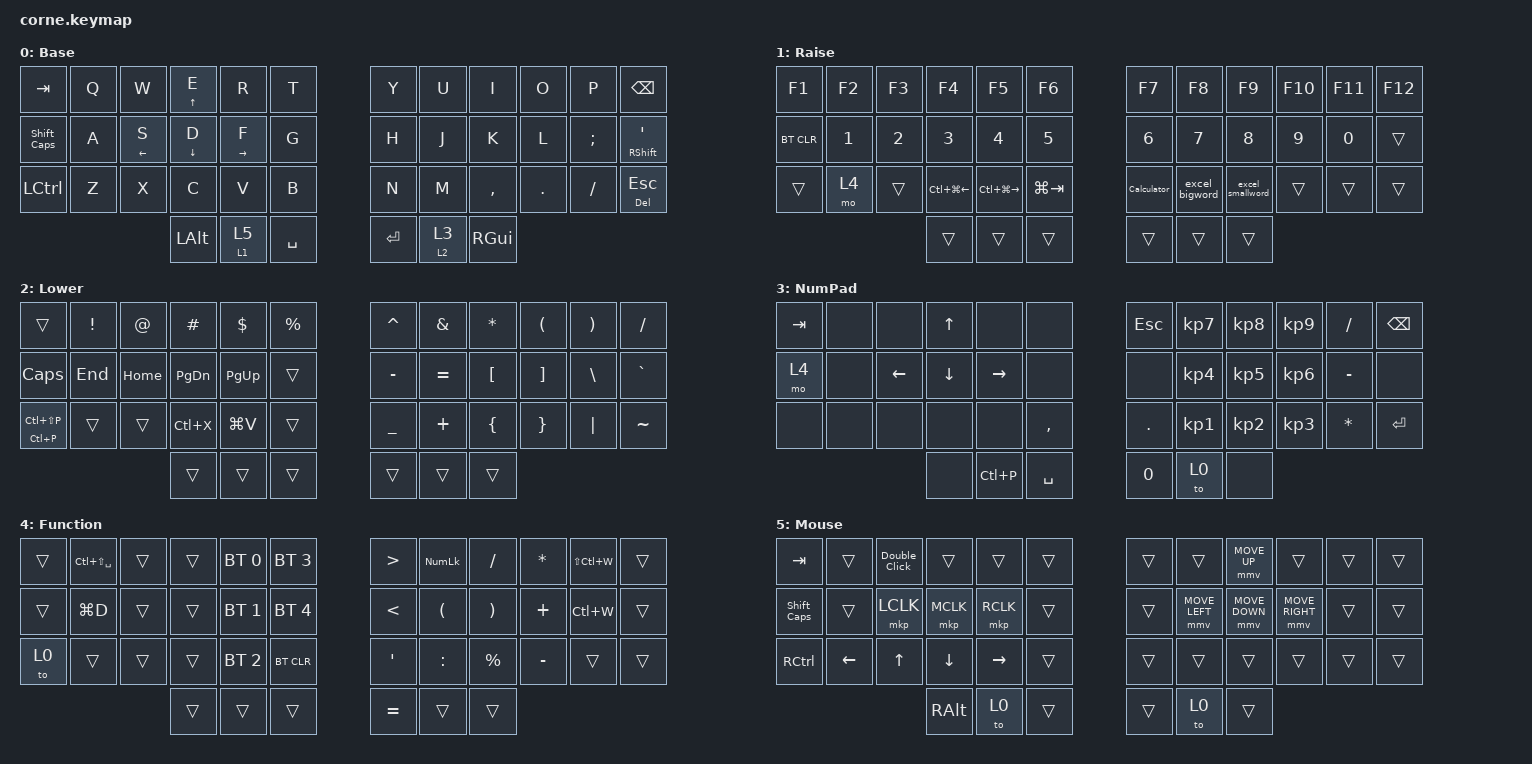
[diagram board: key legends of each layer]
/*
 * Copyright (c) 2020 The ZMK Contributors
 *
 * SPDX-License-Identifier: MIT
 */

#define ZMK_POINTING_DEFAULT_MOVE_VAL 1200  // 600
#define ZMK_POINTING_DEFAULT_SCRL_VAL 25   // 10

#include <input/processors.dtsi>
#include <zephyr/dt-bindings/input/input-event-codes.h>
#include <behaviors.dtsi>
#include <dt-bindings/zmk/bt.h>
#include <dt-bindings/zmk/keys.h>
#include <dt-bindings/zmk/pointing.h>

&mmv_input_listener { input-processors = <&zip_xy_scaler 2 1>; };

&msc_input_listener { input-processors = <&zip_scroll_scaler 2 1>; };

&msc {
  acceleration-exponent = <1>;      // 0
  time-to-max-speed-ms = <100>;       // 300
  delay-ms = <0>;                   // 0
};

&mmv {
  time-to-max-speed-ms = <500>;
  acceleration-exponent = <1>;
  trigger-period-ms = <16>;
};

// dt-formatter: indent = "  "
// dt-formatter: reindentMultilineIntegerCells = "dedent"

/ {
  behaviors {
    hm: homerow_mods {
      compatible = "zmk,behavior-hold-tap";
      label = "HOMEROW_MODS";
      #binding-cells = <2>;
      tapping-term-ms = <200>;
      quick-tap-ms = <125>;
      flavor = "tap-preferred";
      bindings = <&kp>, <&kp>;
    };

    mo_to: mo_to {
      compatible = "zmk,behavior-hold-tap";
      label = "MO_TO";
      #binding-cells = <2>;
      tapping-term-ms = <200>;
      quick-tap-ms = <125>;
      flavor = "tap-preferred";
      bindings = <&mo>, <&to>;
    };

    Shift_Caps: Shift_Caps {
      compatible = "zmk,behavior-tap-dance";
      label = "SHIFT_CAPS";
      #binding-cells = <0>;
      bindings = <&kp LEFT_SHIFT>, <&kp CLCK>;
    };
  };

  combos {
    compatible = "zmk,combos";

    delete {
      bindings = <&kp DEL>;
      key-positions = <10 11>;
    };

    Star {
      bindings = <&kp RS(N8)>;
      key-positions = <3 4>;
    };

    Ctrl_Atl_Del {
      bindings = <&kp LA(LC(DEL))>;
      key-positions = <23 22>;
    };

    Copy {
      bindings = <&kp LC(C)>;
      key-positions = <3 2>;
    };

    Paste {
      bindings = <&kp LC(V)>;
      key-positions = <15 14>;
    };

    WIN_V {
      bindings = <&kp LG(V)>;
      key-positions = <25 26>;
    };

    excel_downrows {
      bindings = <&kp LS(LC(DOWN_ARROW))>;
      key-positions = <29 28>;
    };

    symbol {
      bindings = <&kp LA(LC(COMMA))>;
      key-positions = <30 31>;
    };
  };

  macros {
    Calculator: Calculator {
      compatible = "zmk,behavior-macro";
      #binding-cells = <0>;
      bindings = <&kp RG(S) &kp C &kp A &kp L &kp RET>;
      label = "CALCULATOR";
    };

    excel_bigword: excel_bigword {
      compatible = "zmk,behavior-macro";
      #binding-cells = <0>;
      bindings = <&kp LA(H) &kp F &kp G>;
      label = "EXCEL_BIGWORD";
    };

    excel_smallword: excel_smallword {
      compatible = "zmk,behavior-macro";
      #binding-cells = <0>;
      bindings = <&kp LA(H) &kp F &kp K>;
      label = "EXCEL_SMALLWORD";
    };

    Double_Click: Double_Click {
      compatible = "zmk,behavior-macro";
      #binding-cells = <0>;
      bindings = <&mkp LCLK &mkp LCLK>;
      label = "DOUBLE_CLICK";
    };
  };

  keymap {
    compatible = "zmk,keymap";

    base {
      display-name = "Base";
      bindings = <
&kp TAB      &kp Q  &kp W             &hm UP E    &kp R        &kp T        &kp Y    &kp U       &kp I          &kp O    &kp P          &kp BACKSPACE
&Shift_Caps  &kp A  &hm LEFT_ARROW S  &hm DOWN D  &hm RIGHT F  &kp G        &kp H    &kp J       &kp K          &kp L    &kp SEMICOLON  &hm RIGHT_SHIFT APOS
&kp LCTRL    &kp Z  &kp X             &kp C       &kp V        &kp B        &kp N    &kp M       &kp COMMA      &kp DOT  &kp FSLH       &hm DEL ESC
                                      &kp LALT    &mo_to 1 5   &kp SPACE    &kp RET  &mo_to 2 3  &kp RIGHT_GUI
      >;
    };

    raise {
      display-name = "Raise";
      bindings = <
&kp F1      &kp F2  &kp F3  &kp F4            &kp F5             &kp F6         &kp F7       &kp F8          &kp F9            &kp F10  &kp F11  &kp F12
&bt BT_CLR  &kp N1  &kp N2  &kp N3            &kp N4             &kp N5         &kp N6       &kp N7          &kp N8            &kp N9   &kp N0   &trans
&trans      &mo 4   &trans  &kp LC(LG(LEFT))  &kp LC(LG(RIGHT))  &kp LG(TAB)    &Calculator  &excel_bigword  &excel_smallword  &trans   &trans   &trans
                            &trans            &trans             &trans         &trans       &trans          &trans
      >;
    };

    lower {
      display-name = "Lower";
      bindings = <
&trans               &kp EXCL  &kp AT    &kp HASH       &kp DLLR     &kp PRCNT    &kp CARET  &kp AMPS   &kp STAR  &kp LPAR  &kp RPAR  &kp SLASH
&kp CLCK             &kp END   &kp HOME  &kp PAGE_DOWN  &kp PAGE_UP  &trans       &kp MINUS  &kp EQUAL  &kp LBKT  &kp RBKT  &kp BSLH  &kp GRAVE
&hm LC(P) LC(LS(P))  &trans    &trans    &kp LC(X)      &kp LG(V)    &trans       &kp UNDER  &kp PLUS   &kp LBRC  &kp RBRC  &kp PIPE  &kp TILDE
                                         &trans         &trans       &trans       &trans     &trans     &trans
      >;
    };

    NumPad {
      display-name = "NumPad";
      bindings = <
&kp TAB  &none  &none     &kp UP_ARROW  &none      &none        &kp ESC     &kp KP_N7        &kp KP_N8        &kp KP_N9  &kp SLASH  &kp BACKSPACE
&mo 4    &none  &kp LEFT  &kp DOWN      &kp RIGHT  &none        &none       &kp KP_NUMBER_4  &kp KP_NUMBER_5  &kp KP_N6  &kp MINUS  &none
&none    &none  &none     &none         &none      &kp COMMA    &kp PERIOD  &kp KP_N1        &kp KP_N2        &kp KP_N3  &kp STAR   &kp RET
                          &none         &kp LC(P)  &kp SPACE    &kp N0      &to 0            &none
      >;
    };

    Function {
      display-name = "Function";
      bindings = <
&trans  &kp LC(LS(SPACE))  &trans  &trans  &bt BT_SEL 0  &bt BT_SEL 3    &kp GREATER_THAN  &kp KP_NUMLOCK        &kp SLASH              &kp ASTERISK  &kp LS(LC(W))  &trans
&trans  &kp LG(D)          &trans  &trans  &bt BT_SEL 1  &bt BT_SEL 4    &kp LT            &kp LEFT_PARENTHESIS  &kp RIGHT_PARENTHESIS  &kp PLUS      &kp LC(W)      &trans
&to 0   &trans             &trans  &trans  &bt BT_SEL 2  &bt BT_CLR      &kp SINGLE_QUOTE  &kp COLON             &kp PERCENT            &kp MINUS     &trans         &trans
                                   &trans  &trans        &trans          &kp EQUAL         &trans                &trans
      >;
    };

    Mouse {
      bindings = <
&kp TAB      &trans    &Double_Click  &trans          &trans     &trans    &trans  &trans          &mmv MOVE_UP    &trans           &trans  &trans
&Shift_Caps  &trans    &mkp LCLK      &mkp MCLK       &mkp RCLK  &trans    &trans  &mmv MOVE_LEFT  &mmv MOVE_DOWN  &mmv MOVE_RIGHT  &trans  &trans
&kp RCTRL    &kp LEFT  &kp UP_ARROW   &kp DOWN_ARROW  &kp RIGHT  &trans    &trans  &trans          &trans          &trans           &trans  &trans
                                      &kp RIGHT_ALT   &to 0      &trans    &trans  &to 0           &trans
      >;
    };
  };
};
